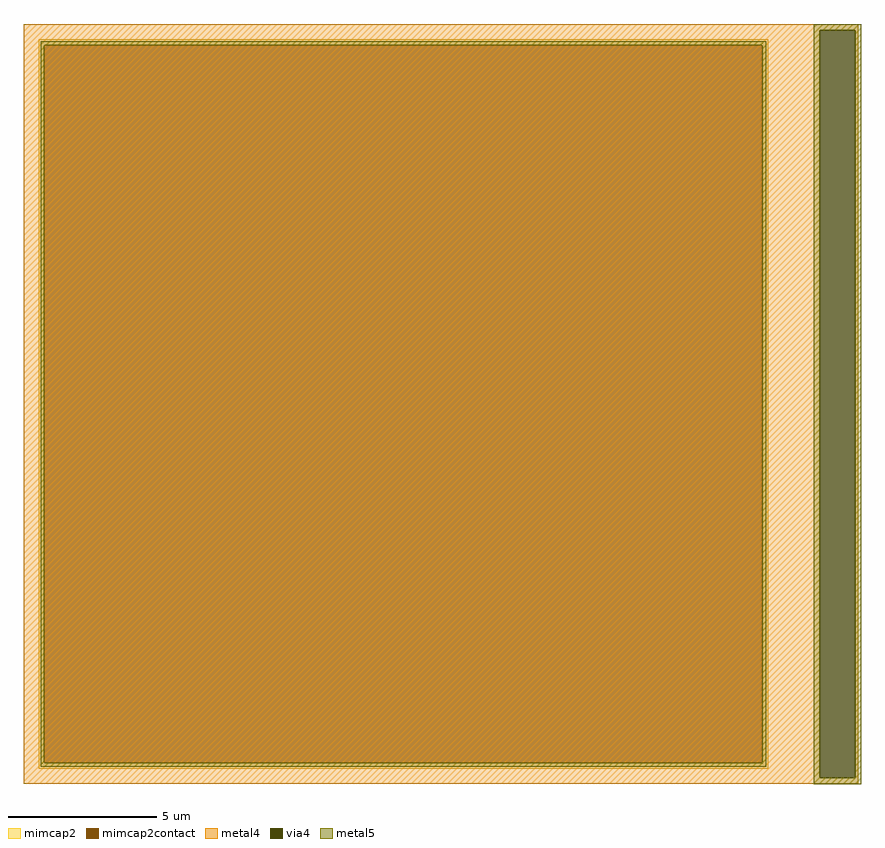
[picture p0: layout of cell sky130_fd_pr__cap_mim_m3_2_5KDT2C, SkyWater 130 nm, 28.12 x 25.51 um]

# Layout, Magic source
magic
tech sky130A
magscale 1 2
<< metal4 >>
rect -2801 2509 2801 2550
rect -2801 -2509 2545 2509
rect 2781 -2509 2801 2509
rect -2801 -2550 2801 -2509
<< via4 >>
rect 2545 -2509 2781 2509
<< mimcap2 >>
rect -2701 2410 2199 2450
rect -2701 -2410 -2661 2410
rect 2159 -2410 2199 2410
rect -2701 -2450 2199 -2410
<< mimcap2contact >>
rect -2661 -2410 2159 2410
<< metal5 >>
rect 2503 2509 2823 2551
rect -2685 2410 2183 2434
rect -2685 -2410 -2661 2410
rect 2159 -2410 2183 2410
rect -2685 -2434 2183 -2410
rect 2503 -2509 2545 2509
rect 2781 -2509 2823 2509
rect 2503 -2551 2823 -2509
<< properties >>
string gencell sky130_fd_pr__cap_mim_m3_2
string FIXED_BBOX -2801 -2550 2299 2550
string parameters w 24.5 l 24.5 val 1.219k carea 2.00 cperi 0.19 nx 1 ny 1 dummy 0 square 0 lmin 2.00 wmin 2.00 lmax 30.0 wmax 30.0 dc 0 bconnect 1 tconnect 1 ccov 100
string library sky130
<< end >>
